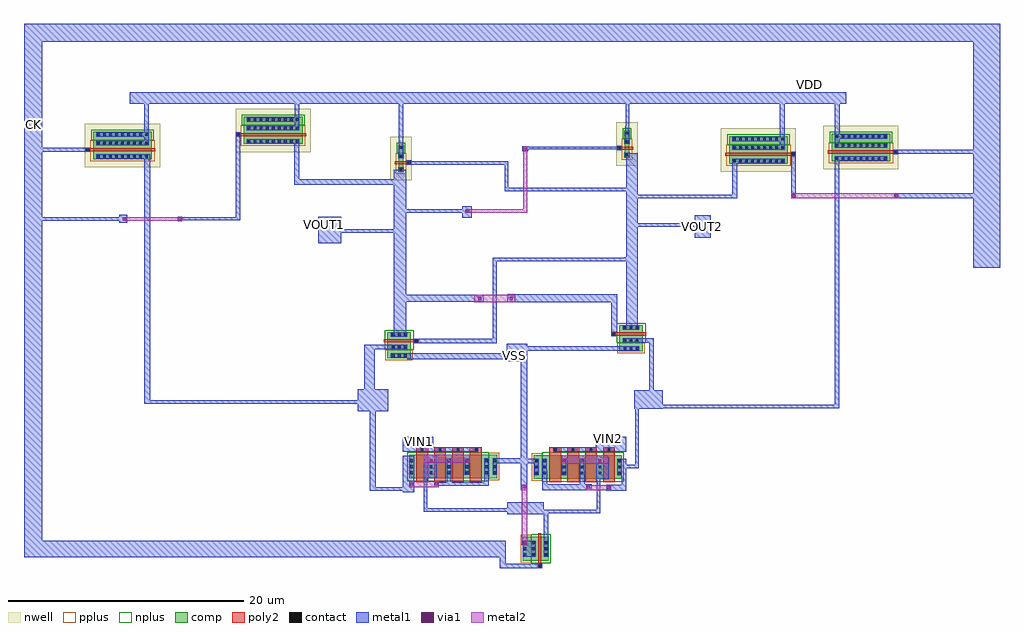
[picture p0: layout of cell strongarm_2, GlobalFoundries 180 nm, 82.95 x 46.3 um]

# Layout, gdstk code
from math import pi, radians
import gdstk
lib = gdstk.Library(unit=1e-6, precision=5e-09)
def R(c, l, rs):  # rectangles x0, y0, x1, y1
    for r in rs: c.add(gdstk.rectangle(r[:2], r[2:], *l))
def A(c, l, x, y, w, h, nx, ny, dx, dy):  # array of equal rectangles
    R(c, l, [(x+i*dx, y+j*dy, x+i*dx+w, y+j*dy+h) for i in range(nx) for j in range(ny)])
def P(c, l, *ps):  # polygons
    for p in ps: c.add(gdstk.Polygon(p, *l))
nwell = (21, 0)
comp = (22, 0)
poly2 = (30, 0)
pplus = (31, 0)
nplus = (32, 0)
contact = (33, 0)
metal1 = (34, 0)
via1 = (35, 0)
metal2 = (36, 0)

nfet_4 = lib.new_cell('nfet$4')
R(nfet_4, comp, [(-0.42,0,0,2), (0,0,5.94,2), (5.94,0,6.36,2), (6.36,0,7.07,2)])
A(nfet_4, poly2, 0.19, -0.3, 1, 2.6, 4, 1, 1.52, 0)
A(nfet_4, poly2, 0.19, 2.3, 1, 0.36, 4, 1, 1.52, 0)
R(nfet_4, pplus, [(6.36,-0.17,7.24,2.17)])
R(nfet_4, nplus, [(-0.59,-0.24,6.36,2.24)])
A(nfet_4, contact, -0.32, 0.38, 0.22, 0.22, 1, 3, 0, 0.51)
A(nfet_4, contact, 1.34, 0.38, 0.22, 0.22, 3, 3, 1.52, 0.51)
A(nfet_4, contact, 6.04, 0.38, 0.22, 0.22, 1, 3, 0, 0.51)
A(nfet_4, contact, 6.75, 0.38, 0.22, 0.22, 1, 3, 0, 0.51)
A(nfet_4, contact, 0.58, 2.37, 0.22, 0.22, 4, 1, 1.52, 0)
A(nfet_4, metal1, 1.26, 0.3, 0.38, 1.4, 3, 1, 1.52, 0)
A(nfet_4, metal1, 0.5, 2.29, 0.38, 0.38, 4, 1, 1.52, 0)
R(nfet_4, metal1, [(-0.4,0.3,-0.02,1.7), (5.96,0.3,6.34,1.7), (6.67,0.3,7.05,1.7)])

nfet = lib.new_cell('nfet')
R(nfet, comp, [(-0.42,0,0,2), (0,0,0.66,2), (0.66,0,1.08,2), (1.08,0,1.79,2)])
R(nfet, poly2, [(0.19,-0.3,0.47,2.3), (0.15,2.3,0.51,2.66)])
R(nfet, pplus, [(1.08,-0.17,1.96,2.17)])
R(nfet, nplus, [(-0.59,-0.24,1.08,2.24)])
A(nfet, contact, -0.32, 0.38, 0.22, 0.22, 1, 3, 0, 0.51)
A(nfet, contact, 0.76, 0.38, 0.22, 0.22, 1, 3, 0, 0.51)
A(nfet, contact, 1.47, 0.38, 0.22, 0.22, 1, 3, 0, 0.51)
R(nfet, contact, [(0.22,2.37,0.44,2.59)])
R(nfet, metal1, [(-0.4,0.3,-0.02,1.7), (0.68,0.3,1.06,1.7), (1.39,0.3,1.77,1.7), (0.14,2.29,0.52,2.67)])

pfet = lib.new_cell('pfet')
R(pfet, nwell, [(-1.16,-0.71,2.55,1.13)])
R(pfet, comp, [(-0.46,-0.01,0,0.43), (0.66,-0.01,1.12,0.43), (1.12,-0.01,1.85,0.43), (0,0,0.66,0.42)])
R(pfet, poly2, [(0.19,-0.3,0.47,0.72), (0.14,0.72,0.52,1.1)])
R(pfet, pplus, [(-0.63,-0.25,1.12,0.67)])
R(pfet, nplus, [(1.12,-0.17,2.02,0.59)])
R(pfet, contact, [(-0.34,0.1,-0.12,0.32), (0.78,0.1,1,0.32), (1.51,0.1,1.73,0.32), (0.22,0.8,0.44,1.02)])
R(pfet, metal1, [(-0.42,0.02,-0.04,0.4), (0.7,0.02,1.08,0.4), (1.43,0.02,1.81,0.4), (0.14,0.72,0.52,1.1)])

pfet_1 = lib.new_cell('pfet$1')
R(pfet_1, nwell, [(-1.15,-0.69,2.54,5.69)])
R(pfet_1, comp, [(-0.46,0,0,5), (0,0,0.66,5), (0.66,0,1.12,5), (1.12,0,1.85,5)])
R(pfet_1, poly2, [(0.19,-0.3,0.47,5.3), (0.14,5.3,0.52,5.68)])
R(pfet_1, pplus, [(-0.63,-0.24,1.12,5.24)])
R(pfet_1, nplus, [(1.12,-0.17,2.02,5.17)])
A(pfet_1, contact, -0.34, 0.35, 0.22, 0.22, 1, 9, 0, 0.51)
A(pfet_1, contact, 0.78, 0.35, 0.22, 0.22, 1, 9, 0, 0.51)
A(pfet_1, contact, 1.51, 0.35, 0.22, 0.22, 1, 9, 0, 0.51)
R(pfet_1, contact, [(0.22,5.38,0.44,5.6)])
R(pfet_1, metal1, [(-0.42,0.27,-0.04,4.73), (0.7,0.27,1.08,4.73), (1.43,0.27,1.81,4.73), (0.14,5.3,0.52,5.68)])

strongarm_2 = lib.new_cell('strongarm_2')
R(strongarm_2, metal1, [(-2.04,-16.8,1.56,-16.42), (-2.04,-16.8,-1.54,-15.84), (-0.07,-15.83,1.02,-14.43), (1.72,-14.43,2.09,-12.1), (7.01,-10.21,8.72,-9.71), (8.33,-10.21,8.72,-8.61), (1.59,-10.17,1.98,-8.47), (1.64,-10.17,5.77,-9.65), (4.77,-10.17,5.17,-8.5), (-0.27,-10.14,0.29,0.8), (-13.08,-9.91,-12.58,-3.44), (-7.61,-9.79,-2.98,-9.46), (-6.54,-9.79,-6.14,-8.57), (-3.36,-9.79,-2.98,-8.54), (7.95,-8.88,8.71,-7.48), (8.71,-8.3,9.79,-8), (9.49,-8,9.79,-3.25), (0.29,-7.86,0.88,-7.48), (-2.27,-7.85,-0.27,-7.46), (2.49,-6.89,7.43,-6.51), (-10.27,-6.87,-7.68,-5.6), (-9.13,-6.87,-3.88,-6.5), (6.12,-6.87,8.71,-5.6), (-14.12,-3.44,-11.51,-1.57), (9.39,-3.25,11.81,-1.66), (26.43,-3.21,26.83,18.23), (11.81,-3.2,13.46,-2.9), (13.46,-3.2,26.83,-2.9), (-32.23,-2.82,-31.75,18.41), (-31.75,-2.82,-14.12,-2.52), (10.69,-1.66,11.06,2.78), (-13.55,-1.57,-12.68,2.2), (-1.44,0.8,0.29,2.3), (-9.88,0.96,-1.44,1.48), (0.29,1.69,8.43,2.07), (-12.68,1.81,-11.28,2.2), (-8.91,2.35,-2.61,2.73), (9.83,2.38,10.69,2.78), (7.46,3.32,7.96,5.81), (-1.41,5.81,7.96,6.49), (-9.98,5.86,-3.39,6.44), (-29.41,12.7,-29.01,13.1), (-24.46,12.78,-24.08,20.25), (-29.03,12.795,-24.08,13.025), (22.75,14.64,23.13,18.59), (31.51,14.64,38.19,15.1), (17.01,14.67,18.14,14.95), (17.72,14.67,18.14,18.03), (-19.51,15.82,-11.05,16.28), (-19.51,15.84,-19.06,19.69), (-10.63,18.05,-10.24,22.67), (31.46,18.42,38.19,18.79), (-40.93,18.59,-36.9,18.95), (-36.96,18.7,-36.9,18.9), (21.74,18.77,22.18,22.67), (0.37,18.81,7.89,19.04), (26.44,18.97,26.86,22.67), (-32.27,19.15,-31.87,22.67), (-19.47,20.43,-19.06,22.67)])
P(strongarm_2, metal1, [(8.62,19.49),(8.62,20.76),(8.66,20.76),(8.66,22.67),(-33.49,22.67),(-33.49,23.67),(27.42,23.67),(27.42,22.67),(8.96,22.67),(8.96,19.49)],
  [(-10.28,-10.31),(-10.28,-10.21),(-13.08,-10.21),(-13.08,-9.91),(-10.28,-9.91),(-10.28,-7.23),(-9.32,-7.23),(-9.32,-10.31)],
  [(-1.41,-12.22),(-1.41,-12),(-8.5,-12),(-8.5,-7.47),(-8.495,-7.47),(-8.495,-7.16),(-7.39,-7.16),(-7.39,-9.16),(-8.2,-9.16),(-8.2,-11.7),(-1.41,-11.7),(-1.41,-11.18),(1.72,-11.18),(1.72,-11.8),(6.19,-11.8),(6.19,-9.23),(6.17,-9.23),(6.17,-7.36),(6.19,-7.36),(6.19,-7.17),(6.49,-7.17),(6.49,-7.36),(7.21,-7.36),(7.21,-9.23),(6.49,-9.23),(6.49,-12.1),(1.72,-12.1),(1.72,-12.22)],
  [(-2.61,2.35),(-2.61,9.61),(8.55,9.61),(8.55,9.64),(8.7,9.64),(8.7,15.27),(-1.6,15.27),(-1.6,17.49),(-9.83,17.49),(-9.83,17.79),(-1.3,17.79),(-1.3,15.57),(8.7,15.57),(8.7,18.5),(9.71,18.5),(9.71,14.95),(17.01,14.95),(17.01,14.65),(9.71,14.65),(9.71,12.54),(14.55,12.54),(14.55,13.23),(15.88,13.23),(15.88,11.31),(14.55,11.31),(14.55,12.24),(9.71,12.24),(9.71,3.48),(8.7,3.48),(8.7,9.31),(-2.31,9.31),(-2.31,2.35)],
  [(-42.47,-15.84),(-42.47,29.5),(40.48,29.5),(40.48,8.76),(38.19,8.76),(38.19,27.97),(-40.93,27.97),(-40.93,13.05),(-34.38,13.05),(-34.38,13.26),(-33.69,13.26),(-33.69,12.58),(-34.38,12.58),(-34.38,12.75),(-40.93,12.75),(-40.93,-14.44),(-1.95,-14.44),(-1.95,-14.43),(-1.65,-14.43),(-1.65,-14.44),(-1.54,-14.44),(-1.54,-15.84)],
  [(-11.05,2.92),(-11.05,11.73),(-15.5,11.73),(-15.5,10.82),(-17.46,10.82),(-17.46,13.08),(-15.5,13.08),(-15.5,12.03),(-11.05,12.03),(-11.05,17.08),(-9.98,17.08),(-9.98,13.74),(-5.23,13.74),(-5.23,13.98),(-4.42,13.98),(-4.42,13),(-5.23,13),(-5.23,13.44),(-9.98,13.44),(-9.98,2.92)],
  [(-0.11,18.64),(-0.11,19.07),(0.37,19.07),(0.37,19.01),(8.11,19.01),(8.11,18.81),(0.37,18.81),(0.37,18.64)])
R(strongarm_2, via1, [(-0.01,-14.74,0.25,-14.48), (7.08,-10.09,7.34,-9.83), (5.37,-10.03,5.63,-9.77), (-0.06,-10.01,0.2,-9.75), (-9.64,-9.77,-9.38,-9.51), (-7.54,-9.76,-7.28,-9.5), (-7.99,-7.83,-7.73,-7.57), (-4.95,-7.81,-4.69,-7.55), (6.35,-7.805,6.61,-7.545), (3.31,-7.8,3.57,-7.54), (-3.85,6.01,-3.59,6.27), (-1.185,6.02,-0.925,6.28), (-34.03,12.76,-33.77,13.02), (-29.36,12.77,-29.1,13.03), (-4.88,13.46,-4.62,13.72), (22.82,14.745,23.08,15.005), (31.53,14.745,31.79,15.005), (0,18.69,0.26,18.95)])
R(strongarm_2, metal2, [(-0.17,-14.84,0.31,-9.68), (5.3,-10.17,7.45,-9.72), (-9.72,-9.9,-7.22,-9.4), (3.25,-7.91,7.2,-7.17), (-8.495,-7.84,-4.57,-7.16), (-4.19,5.81,-0.7,6.44), (-34.09,12.75,-29.03,13.05), (22.75,14.64,31.83,15.1)])
P(strongarm_2, metal2, [(-4.955,13.44),(-4.955,13.74),(-0.02,13.74),(-0.02,19.06),(0.28,19.06),(0.28,13.44)])
strongarm_2.add(gdstk.Reference(nfet_4, (7.93,-9.18), rotation=pi, x_reflection=True))
strongarm_2.add(gdstk.Reference(nfet, (-11.58,2.87), rotation=3*pi/2))
strongarm_2.add(gdstk.Reference(nfet, (1.7,-14.13), rotation=pi))
strongarm_2.add(gdstk.Reference(pfet, (8.99,18.58), rotation=pi/2))
strongarm_2.add(gdstk.Reference(pfet, (-10.64,17.35), rotation=pi/2, x_reflection=True))
strongarm_2.add(gdstk.Reference(pfet_1, (-31.6,18.45), rotation=pi/2))
strongarm_2.add(gdstk.Reference(pfet_1, (17.45,18.07), rotation=pi/2, x_reflection=True))
strongarm_2.add(gdstk.Reference(pfet_1, (26.16,18.27), rotation=pi/2, x_reflection=True))
strongarm_2.add(gdstk.Reference(nfet, (10.13,3.46), rotation=3*pi/2, x_reflection=True))
strongarm_2.add(gdstk.Reference(nfet_4, (-9.32,-9.16)))
strongarm_2.add(gdstk.Reference(pfet_1, (-18.79,19.73), rotation=pi/2))
strongarm_2.add(gdstk.Label('VSS', (-0.82,1.26), layer=34, texttype=10))
strongarm_2.add(gdstk.Label('VOUT1', (-16.96,12.43), layer=34, texttype=10))
strongarm_2.add(gdstk.Label('VIN1', (-8.88,-6.03), layer=34, texttype=10))
strongarm_2.add(gdstk.Label('VIN2', (7.24,-5.75), layer=34, texttype=10))
strongarm_2.add(gdstk.Label('VOUT2', (15.215,12.27), layer=34, texttype=10))
strongarm_2.add(gdstk.Label('VDD', (24.28,24.34), layer=34, texttype=10))
strongarm_2.add(gdstk.Label('CK', (-41.7,20.9), layer=34, texttype=10))

lib.write_gds('strongarm_2.gds')
